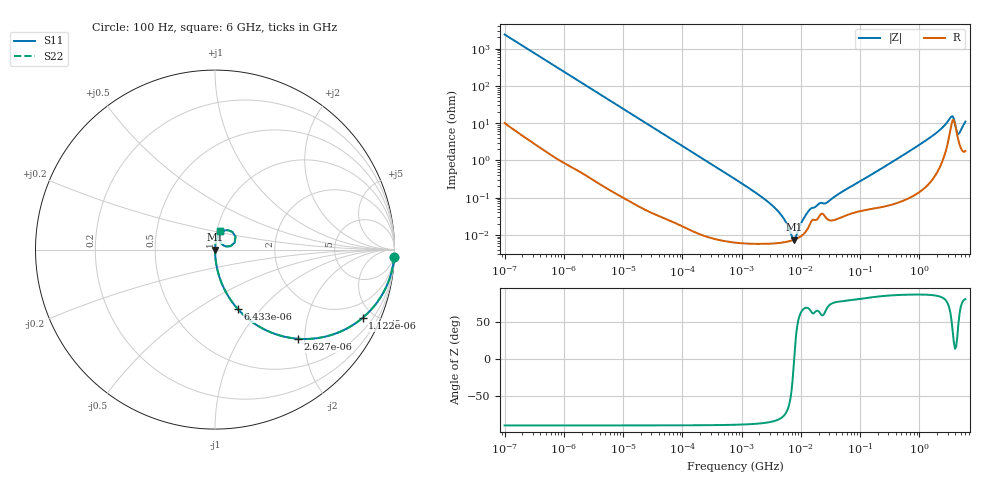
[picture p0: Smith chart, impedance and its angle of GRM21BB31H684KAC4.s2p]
!Murata Part Number: GRM21BB31H684KAC4
!These Parameters are Measured in Series Mode Connection
!Data Generated on Mar 30, 2021
!  o--ll--o
!Port1  Port2
!  o------o
!Operation Temp=25[degC], DC Bias Voltage=0[V]
!Freq. Start=100[Hz] Stop=6[GHz] 401[Steps]
# Hz S RI R 50
!Freq.(Hz) S11(Real) S11(Imag) S21(Real) S21(Imag) S12(Real) S12(Imag) S22(Real) S22(Imag)
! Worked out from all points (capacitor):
!   401 points, 100 Hz to 6 GHz, reference 50 ohm
!   read as one part in series: C = 659 nF near 109 Hz
!   lowest |Z| = 7.41 mohm at 7.6 MHz (marker M1)
!   series resonance near 7.716 MHz, so ESL is about 650 pH
!   S11 on the Smith chart (normalised r, x): 100 Hz: 1, -48; 1.122 kHz: 1.02, -4.32; 2.627 kHz: 1.01, -1.85; 6.433 kHz: 1.00, -0.76; 6 GHz: 1.04, +0.22
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100  0.9981 -0.0414  0.00189 0.0414  0.00189 0.0414  0.9981 -0.0414
479  0.9616 -0.1903  0.0384 0.1903  0.0384 0.1903  0.9616 -0.1903
1122  0.8226 -0.3802  0.1774 0.3802  0.1774 0.3802  0.8226 -0.3802
2008  0.5932 -0.4893  0.4068 0.4893  0.4068 0.4893  0.5932 -0.4893
2627  0.4609 -0.4966  0.5391 0.4966  0.5391 0.4966  0.4609 -0.4966
6433  0.1262 -0.3301  0.8738 0.3301  0.8738 0.3301  0.1262 -0.3301
40335  0.00398 -0.0603  0.996 0.0603  0.996 0.0603  0.00398 -0.0603
774597  7.17e-05 -0.00315  0.9999 0.00315  0.9999 0.00315  7.17e-05 -0.00315
3549919  5.91e-05 -0.00055  0.9999 0.00055  0.9999 0.00055  5.91e-05 -0.00055
4856642  6.21e-05 -0.000309  0.9999 0.000309  0.9999 0.000309  6.21e-05 -0.000309
6644369  6.87e-05 -9.72e-05  0.9999 9.72e-05  0.9999 9.72e-05  6.87e-05 -9.72e-05
7599586  7.34e-05 -9.8e-06  0.9999 9.8e-06  0.9999 9.8e-06  7.34e-05 -9.8e-06
8692127  8.03e-05 7.86e-05  0.9999 -7.86e-05  0.9999 -7.86e-05  8.03e-05 7.86e-05
1.243624e7  0.000129 0.000339  0.9999 -0.000339  0.9999 -0.000339  0.000129 0.000339
1.555665e7  0.000249 0.000468  0.9998 -0.000468  0.9998 -0.000468  0.000249 0.000468
2.784235e7  0.000268 0.000694  0.9997 -0.000694  0.9997 -0.000694  0.000268 0.000694
3.124326e8  0.000686 0.00813  0.9993 -0.00813  0.9993 -0.00813  0.000686 0.00813
1.637704e9  0.00491 0.0443  0.9951 -0.0443  0.9951 -0.0443  0.00491 0.0443
3.352442e9  0.0743 0.1079  0.9257 -0.1079  0.9257 -0.1079  0.0743 0.1079
3.666503e9  0.1142 0.0725  0.8858 -0.0725  0.8858 -0.0725  0.1142 0.0725
4.586474e9  0.0342 0.0356  0.9658 -0.0356  0.9658 -0.0356  0.0342 0.0356
6e9  0.0287 0.1037  0.9713 -0.1037  0.9713 -0.1037  0.0287 0.1037
